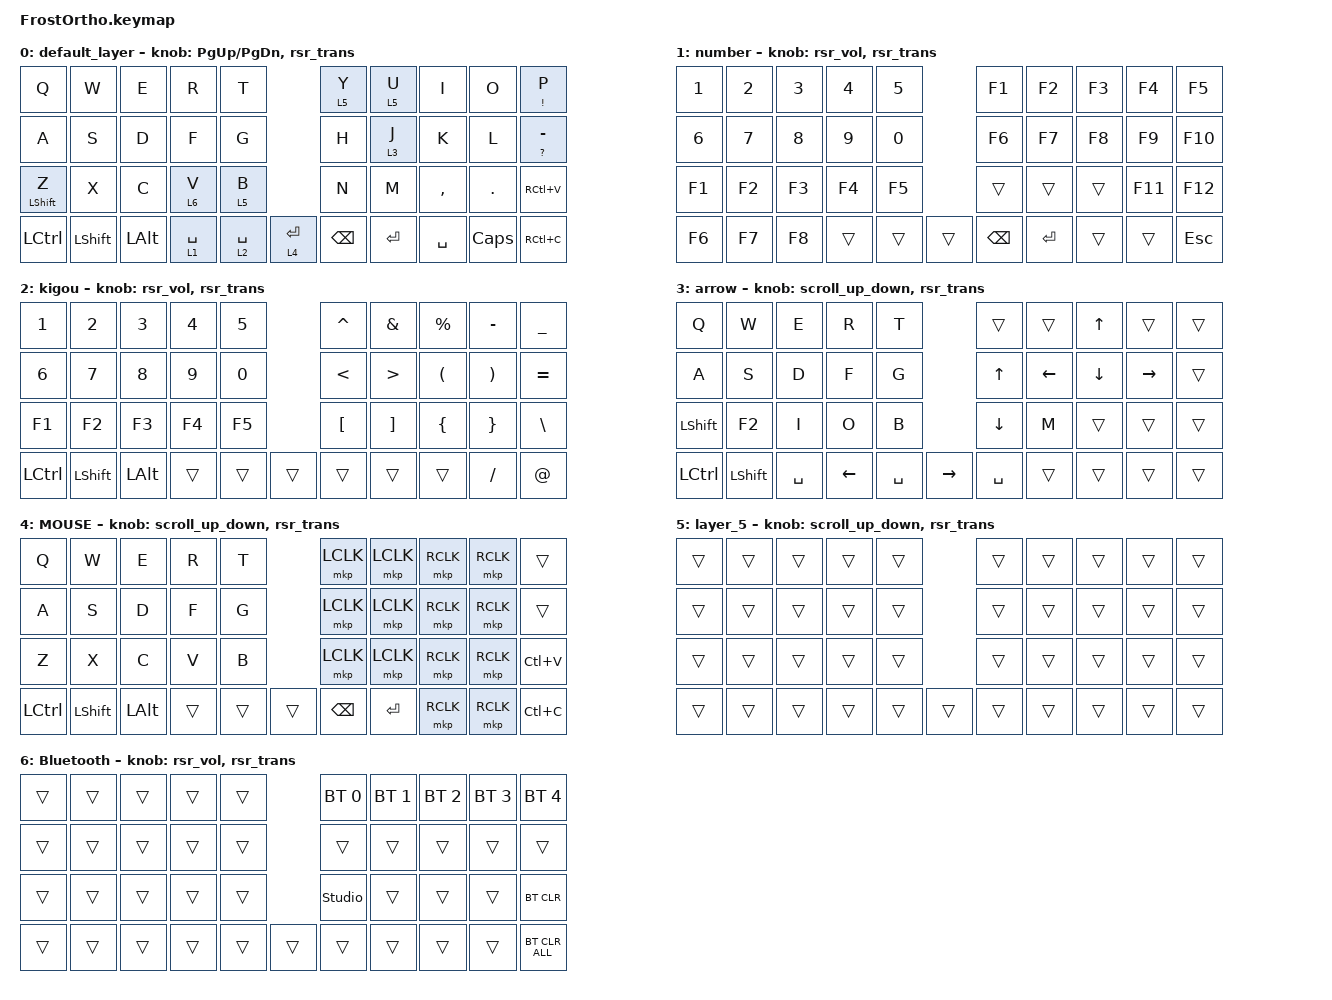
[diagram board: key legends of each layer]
#include <input/processors.dtsi>
#include <behaviors/runtime-sensor-rotate.dtsi>
#include <behaviors/runtime-sensor-rotate.dtsi>
#include <behaviors.dtsi>
#include <dt-bindings/zmk/bt.h>
#include <dt-bindings/zmk/keys.h>
#include <dt-bindings/zmk/pointing.h>

#define MOUSE 6

&mt {
    flavor = "balanced";
    quick-tap-ms = <0>;
};

// AML クリックしたときにタイムアウトを延長
// &mkp_input_listener { input-processors = <&zip_temp_layer 6 10000>; };

/ {
    combos {
        compatible = "zmk,combos";

        leftclick {
            bindings = <&mkp LCLK>;
            key-positions = <16 17>;
        };

        caplock {
            bindings = <&kp CAPSLOCK>;
            key-positions = <12 13>;
        };

        escape {
            bindings = <&kp ESCAPE>;
            key-positions = <0 9>;
        };
    };

    macros {
        to_layer_0: to_layer_0 {
            compatible = "zmk,behavior-macro-one-param";
            #binding-cells = <1>;
            bindings = <&to 0 &macro_param_1to1 &kp MACRO_PLACEHOLDER>;
            label = "TO_LAYER_0";
        };

        screenshot: screenshot {
            compatible = "zmk,behavior-macro";
            #binding-cells = <0>;
            bindings =
                <&to 0>,
                <&macro_press>,
                <&kp LEFT_WIN &kp LEFT_SHIFT &kp S>,
                <&macro_release>,
                <&kp LEFT_WIN &kp LEFT_SHIFT &kp S>;

            label = "SCREENSHOT";
        };
    };

    behaviors {
        lt_to_layer_0: lt_to_layer_0 {
            compatible = "zmk,behavior-hold-tap";
            label = "LAYER_TAP_TO_0";
            bindings = <&mo>, <&to_layer_0>;

            #binding-cells = <2>;
            tapping-term-ms = <300>;
        };

        // Kyemap Editor用

        scroll_up_down: behavior_sensor_rotate_mouse_wheel_up_down {
            compatible = "zmk,behavior-sensor-rotate";
            #sensor-binding-cells = <0>;
            tap-ms = <20>;
            bindings = <&msc SCRL_UP>, <&msc SCRL_DOWN>;
        };

        vol_up_down: vol_up_down {
            compatible = "zmk,behavior-sensor-rotate";
            #sensor-binding-cells = <0>;
            tap-ms = <5>;
            bindings = <&kp C_VOL_DN>, <&kp C_VOL_UP>;
        };

        // DYA Studio用

        rsr_vol: rsr_vol {
            compatible = "zmk,behavior-runtime-sensor-rotate";
            #sensor-binding-cells = <0>;
            tap-ms = <5>;
            cw-binding = <&kp C_VOL_DN>;
            ccw-binding = <&kp C_VOL_UP>;
        };
    };

    keymap {
        compatible = "zmk,keymap";

        default_layer {
            bindings = <
&kp Q             &kp W           &kp E         &kp R        &kp T                         &lt 5 Y        &lt 5 U    &kp I      &kp O         &mt EXCL P
&kp A             &kp S           &kp D         &kp F        &kp G                         &kp H          &lt 3 J    &kp K      &kp L         &mt QUESTION MINUS
&mt LEFT_SHIFT Z  &kp X           &kp C         &lt 6 V      &lt 5 B                       &kp N          &kp M      &kp COMMA  &kp PERIOD    &kp RC(V)
&kp LEFT_CONTROL  &kp LEFT_SHIFT  &kp LEFT_ALT  &lt 1 SPACE  &lt 2 SPACE  &lt 4 ENTER      &kp BACKSPACE  &kp ENTER  &kp SPACE  &kp CAPSLOCK  &kp RC(C)
            >;

            sensor-bindings = <&inc_dec_kp PAGE_UP PAGE_DOWN>, <&rsr_trans>;
        };

        number {
            bindings = <
&kp NUMBER_1  &kp NUMBER_2  &kp NUMBER_3  &kp NUMBER_4  &kp NUMBER_5              &kp F1         &kp F2     &kp F3  &kp F4   &kp F5
&kp NUMBER_6  &kp NUMBER_7  &kp NUMBER_8  &kp NUMBER_9  &kp NUMBER_0              &kp F6         &kp F7     &kp F8  &kp F9   &kp F10
&kp F1        &kp F2        &kp F3        &kp F4        &kp F5                    &trans         &trans     &trans  &kp F11  &kp F12
&kp F6        &kp F7        &kp F8        &trans        &trans        &trans      &kp BACKSPACE  &kp ENTER  &trans  &trans   &kp ESCAPE
            >;

            sensor-bindings = <&rsr_vol &rsr_trans>;
        };

        kigou {
            bindings = <
&kp NUMBER_1      &kp NUMBER_2    &kp NUMBER_3  &kp NUMBER_4  &kp NUMBER_5              &kp CARET         &kp AMPERSAND      &kp PRCNT             &kp MINUS              &kp UNDER
&kp NUMBER_6      &kp NUMBER_7    &kp NUMBER_8  &kp NUMBER_9  &kp NUMBER_0              &kp LESS_THAN     &kp GREATER_THAN   &kp LEFT_PARENTHESIS  &kp RIGHT_PARENTHESIS  &kp EQUAL
&kp F1            &kp F2          &kp F3        &kp F4        &kp F5                    &kp LEFT_BRACKET  &kp RIGHT_BRACKET  &kp LEFT_BRACE        &kp RIGHT_BRACE        &kp BACKSLASH
&kp LEFT_CONTROL  &kp LEFT_SHIFT  &kp LEFT_ALT  &trans        &trans        &trans      &trans            &trans             &trans                &kp SLASH              &kp AT
            >;

            sensor-bindings = <&rsr_vol &rsr_trans>;
        };

        arrow {
            bindings = <
&kp Q             &kp W           &kp E      &kp R           &kp T                           &trans          &trans          &kp UP_ARROW    &trans           &trans
&kp A             &kp S           &kp D      &kp F           &kp G                           &kp UP_ARROW    &kp LEFT_ARROW  &kp DOWN_ARROW  &kp RIGHT_ARROW  &trans
&kp LEFT_SHIFT    &kp F2          &kp I      &kp O           &kp B                           &kp DOWN_ARROW  &kp M           &trans          &trans           &trans
&kp LEFT_CONTROL  &kp LEFT_SHIFT  &kp SPACE  &kp LEFT_ARROW  &kp SPACE  &kp RIGHT_ARROW      &kp SPACE       &trans          &trans          &trans           &trans
            >;

            sensor-bindings = <&scroll_up_down>, <&rsr_trans>;
        };

        MOUSE {
            bindings = <
&kp Q             &kp W           &kp E         &kp R   &kp T               &mkp LCLK      &mkp LCLK  &mkp RCLK  &mkp RCLK  &trans
&kp A             &kp S           &kp D         &kp F   &kp G               &mkp LCLK      &mkp LCLK  &mkp RCLK  &mkp RCLK  &trans
&kp Z             &kp X           &kp C         &kp V   &kp B               &mkp LCLK      &mkp LCLK  &mkp RCLK  &mkp RCLK  &kp LC(V)
&kp LEFT_CONTROL  &kp LEFT_SHIFT  &kp LEFT_ALT  &trans  &trans  &trans      &kp BACKSPACE  &kp ENTER  &mkp RCLK  &mkp RCLK  &kp LC(C)
            >;

            sensor-bindings = <&scroll_up_down>, <&rsr_trans>;
        };

        layer_5 {
            bindings = <
&trans  &trans  &trans  &trans  &trans              &trans  &trans  &trans  &trans  &trans
&trans  &trans  &trans  &trans  &trans              &trans  &trans  &trans  &trans  &trans
&trans  &trans  &trans  &trans  &trans              &trans  &trans  &trans  &trans  &trans
&trans  &trans  &trans  &trans  &trans  &trans      &trans  &trans  &trans  &trans  &trans
            >;

            sensor-bindings = <&scroll_up_down>, <&rsr_trans>;
        };

        Bluetooth {
            bindings = <
&trans  &trans  &trans  &trans  &trans              &bt BT_SEL 0    &bt BT_SEL 1  &bt BT_SEL 2  &bt BT_SEL 3  &bt BT_SEL 4
&trans  &trans  &trans  &trans  &trans              &trans          &trans        &trans        &trans        &trans
&trans  &trans  &trans  &trans  &trans              &studio_unlock  &trans        &trans        &trans        &bt BT_CLR
&trans  &trans  &trans  &trans  &trans  &trans      &trans          &trans        &trans        &trans        &bt BT_CLR_ALL
            >;

            sensor-bindings = <&rsr_vol &rsr_trans>;
        };
    };
};
